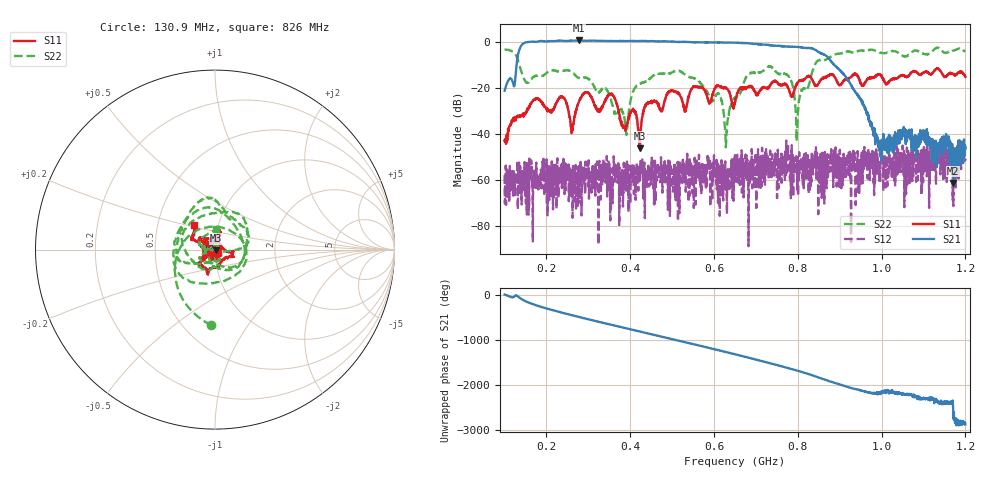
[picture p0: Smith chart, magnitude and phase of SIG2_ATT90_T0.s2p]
# Hz S DB R 50
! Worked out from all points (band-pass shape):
!   1601 points, 100 MHz to 1.2 GHz, reference 50 ohm
!   highest |S21| = 0.56 dB at 277.4 MHz (marker M1); lowest = -61.3 dB at 1.171 GHz (marker M2)
!   |S21| within 3 dB of the highest: 137.5 MHz to 806.6 MHz (669.2 MHz wide, 142 % of centre); 806.9582 MHz to 807.8391 MHz (880.9 kHz wide, 0.109 % of centre)
!   lowest |S11| = -46.3 dB at 423.1 MHz (marker M3), VSWR 1.01, Z = 50.3 - j0.379 ohm
!   |S11| at or under -10 dB: start of sweep to end of sweep
!   |S22| runs from -45.8 to -2.5 dB; largest |S21 - S12| = 1.1
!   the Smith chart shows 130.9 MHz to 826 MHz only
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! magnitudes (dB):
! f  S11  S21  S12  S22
! 100 MHz  -42.9  -21.3  -57.9  -3.5
! 146.1 MHz  -30.9  -0.6  -57.6  -16.0
! 237.5 MHz  -24.0  0.4  -52.7  -12.7
! 261.6 MHz  -37.9  0.5  -61.4  -13.1
! 277.4 MHz  -25.9  0.6  -63.7  -15.7
! 283.6 MHz  -23.9  0.5  -75.4  -15.7
! 355.8 MHz  -22.4  0.3  -55.1  -26.4
! 390.1 MHz  -36.9  0.3  -64.6  -39.0
! 407.3 MHz  -29.5  0.3  -60.8  -21.4
! 423.1 MHz  -46.3  0.3  -55.2  -18.2
! 438.2 MHz  -26.8  0.3  -60.8  -17.1
! 467.1 MHz  -26.8  0.2  -57.9  -13.9
! 610.8 MHz  -19.1  -0.4  -59.3  -22.6
! 629.4 MHz  -20.1  -0.3  -56.9  -42.6
! 650 MHz  -26.2  -0.4  -49.2  -24.5
! 734.6 MHz  -18.6  -1.5  -51.4  -10.7
! 780.6 MHz  -21.9  -2.2  -56.9  -15.7
! 798.5 MHz  -17.9  -2.2  -64.5  -37.1
! 833.6 MHz  -16.2  -2.8  -47.5  -13.6
! 1.017 GHz  -17.3  -48.9  -56.1  -4.4
! 1.171 GHz  -14.1  -61.3  -71.3  -3.8
! 1.2 GHz  -15.2  -46.2  -50.7  -4.3
